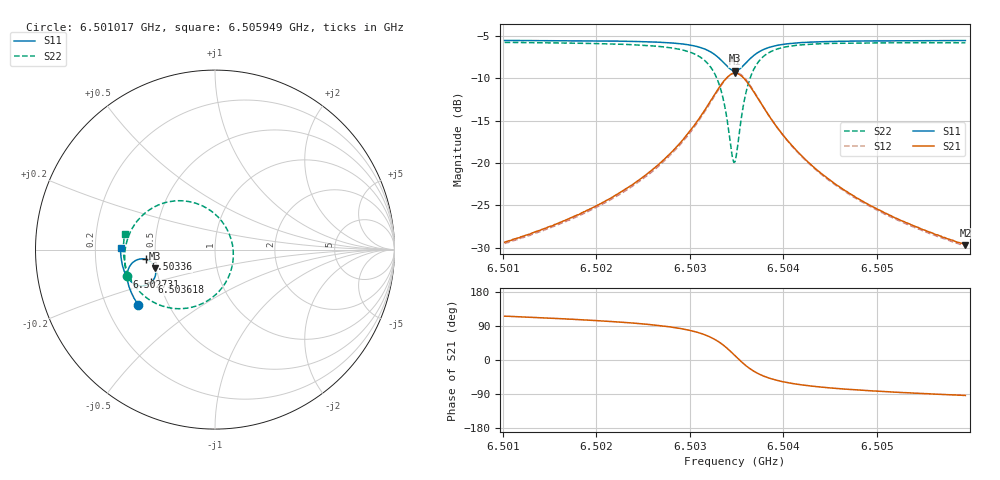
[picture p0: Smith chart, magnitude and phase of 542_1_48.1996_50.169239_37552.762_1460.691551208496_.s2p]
#  HZ  S  RI  R  50.00
! Rohde & Schwarz Vector Network Analyzer
! Rohde-Schwarz,ZNB20-2Port,1311601062101988,3.16
! Created: UTC 3/20/2024, 12:00:19 PM
! freq[Hz]  re:S11  im:S11  re:S21  im:S21  re:S12  im:S12  re:S22  im:S22
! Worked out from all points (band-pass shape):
!   401 points, 6.501017 GHz to 6.505949 GHz, reference 50 ohm
!   highest |S21| = -9.42 dB at 6.503483 GHz (marker M1); lowest = -29.6 dB at 6.505949 GHz (marker M2)
!   |S21| within 3 dB of the highest: 6.503237 GHz to 6.50373 GHz (492.8 kHz wide, 0.00758 % of centre)
!   lowest |S11| = -9.1 dB at 6.503483 GHz (marker M3), VSWR 2.07, Z = 24.5 - j5.84 ohm
!   |S11| at or under -10 dB: nowhere
!   |S22| runs from -19.9 to -5.8 dB; largest |S21 - S12| = 0.011
!   S11 on the Smith chart (normalised r, x): 6.501017 GHz: 0.34, -0.29; 6.502731 GHz: 0.33, -0.14; 6.50336 GHz: 0.44, -0.06; 6.503618 GHz: 0.45, -0.19; 6.505949 GHz: 0.31, +0.01
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6.5010166e9  -0.4291 -0.3062  -0.0148 0.0308  -0.0132 0.0309  -0.4911 -0.1495
6.5018428e9  -0.4642 -0.2446  -0.0141 0.0489  -0.0117 0.0483  -0.5034 -0.0608
6.5022867e9  -0.4796 -0.2048  -0.0112 0.0679  -0.00835 0.0668  -0.5 0.00298
6.502669e9  -0.4885 -0.1622  -0.00178 0.0985  0.00182 0.0962  -0.4794 0.0804
6.5027306e9  -0.4891 -0.1538  0.00149 0.1058  0.00505 0.1032  -0.4724 0.0966
6.5029526e9  -0.4855 -0.1188  0.0234 0.1409  0.0269 0.1369  -0.4266 0.1672
6.5031129e9  -0.4711 -0.0865  0.0626 0.177  0.0651 0.1715  -0.3506 0.2308
6.5032609e9  -0.4336 -0.0567  0.1439 0.206  0.1444 0.2  -0.2026 0.2723
6.5033595e9  -0.3871 -0.0536  0.2351 0.1897  0.2351 0.1855  -0.0447 0.2301
6.5034458e9  -0.3442 -0.0824  0.3134 0.1157  0.3159 0.112  0.0804 0.0843
6.5034705e9  -0.3361 -0.0966  0.327 0.0838  0.3302 0.0795  0.0977 0.0246
6.5034828e9  -0.3334 -0.1044  0.3313 0.067  0.335 0.062  0.1015 -0.00685
6.5035075e9  -0.3301 -0.1207  0.3349 0.0324  0.339 0.0262  0.0995 -0.0701
6.5035445e9  -0.3322 -0.1447  0.3277 -0.018  0.3315 -0.026  0.0725 -0.1589
6.5036185e9  -0.3544 -0.1818  0.2813 -0.0943  0.2817 -0.1052  -0.0372 -0.2822
6.5037294e9  -0.4 -0.202  0.1945 -0.1397  0.1896 -0.1493  -0.213 -0.3291
6.5038897e9  -0.4472 -0.1925  0.1106 -0.136  0.1038 -0.1412  -0.3637 -0.2807
6.5040624e9  -0.4751 -0.1712  0.065 -0.1152  0.059 -0.1174  -0.4375 -0.2142
6.504309e9  -0.4962 -0.1413  0.0345 -0.09  0.0299 -0.0905  -0.4815 -0.1411
6.5046912e9  -0.5121 -0.101  0.0147 -0.0655  0.0116 -0.065  -0.5046 -0.0634
6.5051352e9  -0.5214 -0.0595  0.00513 -0.049  0.003 -0.0484  -0.5103 0.000256
6.505949e9  -0.5264 0.00967  -0.00204 -0.0329  -0.00322 -0.0322  -0.5029 0.0875
